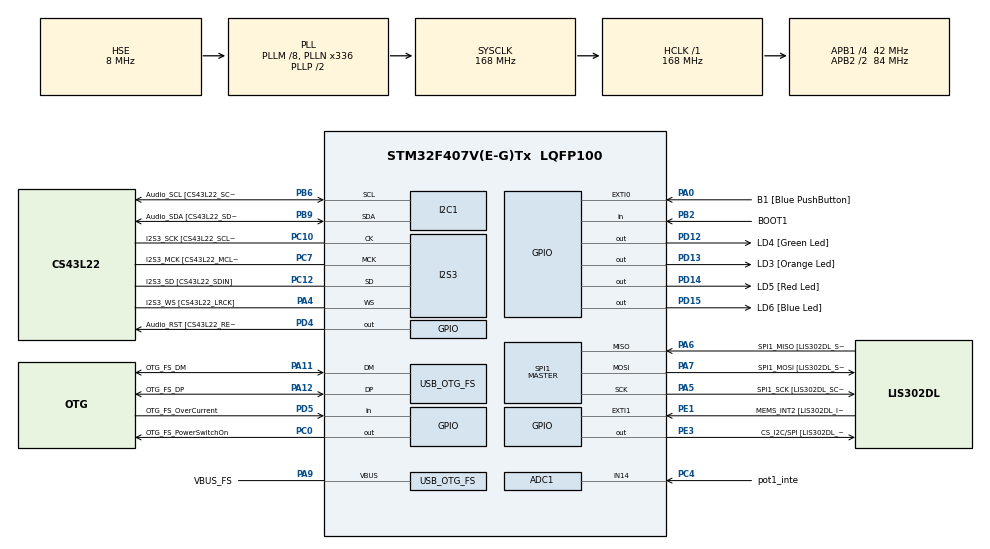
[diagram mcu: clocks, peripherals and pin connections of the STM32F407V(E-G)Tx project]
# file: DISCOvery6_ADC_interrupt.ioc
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ADC1.Channel-0\#ChannelRegularConversion=ADC_CHANNEL_14
ADC1.ContinuousConvMode=ENABLE
ADC1.NbrOfConversionFlag=1
ADC1.Rank-0\#ChannelRegularConversion=1
ADC1.Resolution=ADC_RESOLUTION_10B
ADC1.SamplingTime-0\#ChannelRegularConversion=ADC_SAMPLETIME_480CYCLES
ADC1.master=1
I2S3.AudioFreq-Half_Duplex_Master=I2S_AUDIOFREQ_96K
I2S3.ErrorAudioFreq=-2.34 %
I2S3.ErrorAudioFreq-Half_Duplex_Master=0.8 %
I2S3.FullDuplexMode=I2S_FULLDUPLEXMODE_DISABLE
I2S3.Instance=SPI$Index
I2S3.RealAudioFreq=93.75 KHz
I2S3.RealAudioFreq-Half_Duplex_Master=96.774 KHz
I2S3.VirtualMode=I2S_MODE_MASTER
Mcu.Family=STM32F4
Mcu.Name=STM32F407V(E-G)Tx
Mcu.Package=LQFP100
NVIC.ADC_IRQn=true\:0\:0\:false\:false\:true\:true\:true\:true
NVIC.OTG_FS_IRQn=true\:0\:0\:false\:false\:true\:true\:true\:true
NVIC.PriorityGroup=NVIC_PRIORITYGROUP_0
PA0-WKUP.GPIO_Label=B1 [Blue PushButton]
PA0-WKUP.GPIO_ModeDefaultEXTI=GPIO_MODE_EVT_RISING
PA0-WKUP.GPIO_PuPd=GPIO_NOPULL
PA0-WKUP.Signal=GPXTI0
PA10.GPIO_Label=OTG_FS_ID
PA10.GPIO_Mode=GPIO_MODE_AF_PP
PA10.GPIO_PuPd=GPIO_NOPULL
PA10.GPIO_Speed=GPIO_SPEED_FREQ_LOW
PA10.Signal=USB_OTG_FS_ID
PA11.GPIO_Label=OTG_FS_DM
PA11.GPIO_Mode=GPIO_MODE_AF_PP
PA11.GPIO_PuPd=GPIO_NOPULL
PA11.GPIO_Speed=GPIO_SPEED_FREQ_LOW
PA11.Mode=Host_Only
PA11.Signal=USB_OTG_FS_DM
PA12.GPIO_Label=OTG_FS_DP
PA12.GPIO_Mode=GPIO_MODE_AF_PP
PA12.GPIO_PuPd=GPIO_NOPULL
PA12.GPIO_Speed=GPIO_SPEED_FREQ_LOW
PA12.Mode=Host_Only
PA12.Signal=USB_OTG_FS_DP
PA13.GPIO_Label=SWDIO
PA13.Mode=Serial_Wire
PA13.Signal=SYS_JTMS-SWDIO
PA14.GPIO_Label=SWCLK
PA14.Mode=Serial_Wire
PA14.Signal=SYS_JTCK-SWCLK
PA4.GPIO_Label=I2S3_WS [CS43L22_LRCK]
PA4.GPIO_Mode=GPIO_MODE_AF_PP
PA4.GPIO_PuPd=GPIO_NOPULL
PA4.GPIO_Speed=GPIO_SPEED_FREQ_LOW
PA4.Mode=Half_Duplex_Master
PA4.Signal=I2S3_WS
PA5.GPIO_Label=SPI1_SCK [LIS302DL_SCL/SPC]
PA5.GPIO_Mode=GPIO_MODE_AF_PP
PA5.GPIO_PuPd=GPIO_NOPULL
PA5.GPIO_Speed=GPIO_SPEED_FREQ_LOW
PA5.Mode=Full_Duplex_Master
PA5.Signal=SPI1_SCK
PA6.GPIO_Label=SPI1_MISO [LIS302DL_SDO]
PA6.GPIO_Mode=GPIO_MODE_AF_PP
PA6.GPIO_PuPd=GPIO_NOPULL
PA6.GPIO_Speed=GPIO_SPEED_FREQ_LOW
PA6.Mode=Full_Duplex_Master
PA6.Signal=SPI1_MISO
PA7.GPIO_Label=SPI1_MOSI [LIS302DL_SDA/SDI/SDO]
PA7.GPIO_Mode=GPIO_MODE_AF_PP
PA7.GPIO_PuPd=GPIO_NOPULL
PA7.GPIO_Speed=GPIO_SPEED_FREQ_LOW
PA7.Mode=Full_Duplex_Master
PA7.Signal=SPI1_MOSI
PA9.GPIO_Label=VBUS_FS
PA9.GPIO_Mode=GPIO_MODE_INPUT
PA9.GPIO_PuPd=GPIO_NOPULL
PA9.Mode=Activate_VBUS
PA9.Signal=USB_OTG_FS_VBUS
PB10.GPIO_Label=CLK_IN [MP45DT02_CLK]
PB10.GPIO_Mode=GPIO_MODE_AF_PP
PB10.GPIO_PuPd=GPIO_NOPULL
PB10.GPIO_Speed=GPIO_SPEED_FREQ_LOW
PB10.Signal=I2S2_CK
PB2.GPIO_Label=BOOT1
PB2.GPIO_Mode=GPIO_MODE_INPUT
PB2.GPIO_PuPd=GPIO_NOPULL
PB2.Signal=GPIO_Input
PB3.GPIO_Label=SWO
PB3.Signal=SYS_JTDO-SWO
PB6.GPIO_Label=Audio_SCL [CS43L22_SCL]
PB6.GPIO_Mode=GPIO_MODE_AF_OD
PB6.GPIO_Pu=GPIO_PULLUP
PB6.GPIO_PuPd=GPIO_NOPULL
PB6.GPIO_Speed=GPIO_SPEED_FREQ_LOW
PB6.Mode=I2C
PB6.Signal=I2C1_SCL
PB9.GPIO_Label=Audio_SDA [CS43L22_SDA]
PB9.GPIO_Mode=GPIO_MODE_AF_OD
PB9.GPIO_Pu=GPIO_PULLUP
PB9.GPIO_PuPd=GPIO_NOPULL
PB9.GPIO_Speed=GPIO_SPEED_FREQ_LOW
PB9.Mode=I2C
PB9.Signal=I2C1_SDA
PC0.GPIO_Label=OTG_FS_PowerSwitchOn
PC0.GPIO_PuPd=GPIO_NOPULL
PC0.GPIO_Speed=GPIO_SPEED_FREQ_LOW
PC0.PinState=GPIO_PIN_SET
PC0.Signal=GPIO_Output
PC10.GPIO_Label=I2S3_SCK [CS43L22_SCLK]
PC10.GPIO_Mode=GPIO_MODE_AF_PP
PC10.GPIO_PuPd=GPIO_NOPULL
PC10.GPIO_Speed=GPIO_SPEED_FREQ_LOW
PC10.Mode=Half_Duplex_Master
PC10.Signal=I2S3_CK
PC12.GPIO_Label=I2S3_SD [CS43L22_SDIN]
PC12.GPIO_Mode=GPIO_MODE_AF_PP
PC12.GPIO_PuPd=GPIO_NOPULL
PC12.GPIO_Speed=GPIO_SPEED_FREQ_LOW
PC12.Mode=Half_Duplex_Master
PC12.Signal=I2S3_SD
PC14-OSC32_IN.GPIO_Label=PC14-OSC32_IN
PC14-OSC32_IN.Mode=LSE-External-Oscillator
PC14-OSC32_IN.Signal=RCC_OSC32_IN
PC15-OSC32_OUT.GPIO_Label=PC15-OSC32_OUT
PC15-OSC32_OUT.Mode=LSE-External-Oscillator
PC15-OSC32_OUT.Signal=RCC_OSC32_OUT
PC3.GPIO_Label=PDM_OUT [MP45DT02_DOUT]
PC3.GPIO_Mode=GPIO_MODE_AF_PP
PC3.GPIO_PuPd=GPIO_NOPULL
PC3.GPIO_Speed=GPIO_SPEED_FREQ_LOW
PC3.Signal=I2S2_SD
PC4.GPIO_Label=pot1_inte
PC4.Signal=ADCx_IN14
PC7.GPIO_Label=I2S3_MCK [CS43L22_MCLK]
PC7.GPIO_Mode=GPIO_MODE_AF_PP
PC7.GPIO_PuPd=GPIO_NOPULL
PC7.GPIO_Speed=GPIO_SPEED_FREQ_LOW
PC7.Mode=Master_Clock_Activated
PC7.Signal=I2S3_MCK
PD12.GPIO_Label=LD4 [Green Led]
PD12.GPIO_PuPd=GPIO_NOPULL
PD12.GPIO_Speed=GPIO_SPEED_FREQ_LOW
PD12.Signal=GPIO_Output
PD13.GPIO_Label=LD3 [Orange Led]
PD13.GPIO_PuPd=GPIO_NOPULL
PD13.GPIO_Speed=GPIO_SPEED_FREQ_LOW
PD13.Signal=GPIO_Output
PD14.GPIO_Label=LD5 [Red Led]
PD14.GPIO_PuPd=GPIO_NOPULL
PD14.GPIO_Speed=GPIO_SPEED_FREQ_LOW
PD14.Signal=GPIO_Output
PD15.GPIO_Label=LD6 [Blue Led]
PD15.GPIO_PuPd=GPIO_NOPULL
PD15.GPIO_Speed=GPIO_SPEED_FREQ_LOW
PD15.Signal=GPIO_Output
PD4.GPIO_Label=Audio_RST [CS43L22_RESET]
PD4.GPIO_PuPd=GPIO_NOPULL
PD4.GPIO_Speed=GPIO_SPEED_FREQ_LOW
PD4.Signal=GPIO_Output
PD5.GPIO_Label=OTG_FS_OverCurrent
PD5.GPIO_Mode=GPIO_MODE_INPUT
PD5.GPIO_PuPd=GPIO_NOPULL
PD5.Signal=GPIO_Input
PE1.GPIO_Label=MEMS_INT2 [LIS302DL_INT2]
PE1.GPIO_ModeDefaultEXTI=GPIO_MODE_EVT_RISING
PE1.GPIO_PuPd=GPIO_NOPULL
PE1.Signal=GPXTI1
PE3.GPIO_Label=CS_I2C/SPI [LIS302DL_CS_I2C/SPI]
PE3.GPIO_PuPd=GPIO_NOPULL
PE3.GPIO_Speed=GPIO_SPEED_FREQ_LOW
PE3.Signal=GPIO_Output
PH0-OSC_IN.GPIO_Label=PH0-OSC_IN
PH0-OSC_IN.Mode=HSE-External-Oscillator
PH0-OSC_IN.Signal=RCC_OSC_IN
PH1-OSC_OUT.GPIO_Label=PH1-OSC_OUT
PH1-OSC_OUT.Mode=HSE-External-Oscillator
PH1-OSC_OUT.Signal=RCC_OSC_OUT
ProjectManager.HeapSize=0x200
ProjectManager.StackSize=0x400
ProjectManager.TargetToolchain=STM32CubeIDE
RCC.48MHZClocksFreq_Value=48000000
RCC.AHBFreq_Value=168000000
RCC.APB1CLKDivider=RCC_HCLK_DIV4
RCC.APB1Freq_Value=42000000
RCC.APB1TimFreq_Value=84000000
RCC.APB2CLKDivider=RCC_HCLK_DIV2
RCC.APB2Freq_Value=84000000
RCC.APB2TimFreq_Value=168000000
RCC.CortexFreq_Value=168000000
RCC.HCLKFreq_Value=168000000
RCC.HSE_VALUE=8000000
RCC.HSI_VALUE=16000000
RCC.PLLM=8
RCC.PLLN=336
RCC.PLLQ=7
RCC.SYSCLKFreq_VALUE=168000000
RCC.SYSCLKSource=RCC_SYSCLKSOURCE_PLLCLK
RCC.VCOOutputFreq_Value=336000000
SH.ADCx_IN14.0=ADC1_IN14,IN14
SPI1.BaudRatePrescaler-Full_Duplex_Master=SPI_BAUDRATEPRESCALER_2
SPI1.CalculateBaudRate-Full_Duplex_Master=42.0 MBits/s
SPI1.Direction=SPI_DIRECTION_2LINES
SPI1.Mode=SPI_MODE_MASTER
SPI1.Mode-Full_Duplex_Master=SPI_MODE_MASTER
SPI1.VirtualType=VM_MASTER
USB_HOST.BSP.number=1
USB_HOST.USBH_HandleTypeDef-CDC_FS=hUsbHostFS
USB_HOST.VirtualModeFS=Cdc
USB_HOST0.BSP.STBoard=false
USB_HOST0.BSP.api=Unknown
USB_HOST0.BSP.instance=PC0
USB_HOST0.BSP.ip=GPIO
USB_HOST0.BSP.mode=Output
USB_HOST0.BSP.name=Drive_VBUS_FS
USB_HOST0.BSP.solution=PC0
USB_OTG_FS.VirtualMode=Host_Only
USB_OTG_FS.phy_itface=HCD_PHY_EMBEDDED
VP_USB_HOST_VS_USB_HOST_CDC_FS.Mode=CDC_FS
board=STM32F407G-DISC1

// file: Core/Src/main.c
/* USER CODE BEGIN Header */
/**
  ******************************************************************************
  * @file           : main.c
  * @brief          : Main program body
  ******************************************************************************
  * @attention
  *
  * Copyright (c) 2023 STMicroelectronics.
  * All rights reserved.
  *
  * This software is licensed under terms that can be found in the LICENSE file
  * in the root directory of this software component.
  * If no LICENSE file comes with this software, it is provided AS-IS.
  *
  ******************************************************************************
  */
/* USER CODE END Header */
#include "main.h"
#include "usb_host.h"

ADC_HandleTypeDef hadc1;

I2C_HandleTypeDef hi2c1;

I2S_HandleTypeDef hi2s3;

SPI_HandleTypeDef hspi1;

void SystemClock_Config(void);
static void MX_GPIO_Init(void);
static void MX_I2C1_Init(void);
static void MX_I2S3_Init(void);
static void MX_SPI1_Init(void);
static void MX_ADC1_Init(void);
void MX_USB_HOST_Process(void);

/* USER CODE BEGIN 0 */
int b_pb_state = 0;

uint16_t adc_value = 0;
float adc_voltage = 0;
/*
  __weak void HAL_ADC_ConvCpltCallback(ADC_HandleTypeDef* hadc){
  adc_value = HAL_ADC_GetValue(&hadc1);
  adc_voltage = adc_value*5.0/(1023);
  }
*/
/* USER CODE END 0 */

int main(void)
{

  /* MCU Configuration--------------------------------------------------------*/

  /* Reset of all peripherals, Initializes the Flash interface and the Systick. */
  HAL_Init();

  /* Configure the system clock */
  SystemClock_Config();

  /* Initialize all configured peripherals */
  MX_GPIO_Init();
  MX_I2C1_Init();
  MX_I2S3_Init();
  MX_SPI1_Init();
  MX_USB_HOST_Init();
  MX_ADC1_Init();
  /* USER CODE BEGIN 2 */

  HAL_ADC_Start_IT(&hadc1);

  /* USER CODE END 2 */

  /* Infinite loop */
  while (1)
  {
    MX_USB_HOST_Process();

    /* USER CODE BEGIN 3 */
    b_pb_state = HAL_GPIO_ReadPin(B1_GPIO_Port, B1_Pin);
    if( b_pb_state){
    	adc_value = HAL_ADC_GetValue(&hadc1);
    	adc_voltage = adc_value*5.0/1023;

    	 if(adc_value < 512){
    	HAL_GPIO_WritePin(LD6_GPIO_Port, LD6_Pin, GPIO_PIN_RESET);
    	HAL_GPIO_WritePin(LD3_GPIO_Port, LD3_Pin, GPIO_PIN_SET);
		}
		else if(adc_value > 512){
			HAL_GPIO_WritePin(LD6_GPIO_Port, LD6_Pin, GPIO_PIN_SET);
			HAL_GPIO_WritePin(LD3_GPIO_Port, LD3_Pin, GPIO_PIN_RESET);
		}
    }
    else if( !b_pb_state){
    	HAL_GPIO_WritePin(LD3_GPIO_Port, LD3_Pin, GPIO_PIN_RESET);
    	HAL_GPIO_WritePin(LD6_GPIO_Port, LD6_Pin, GPIO_PIN_RESET);
    }

  }
  /* USER CODE END 3 */
}

void SystemClock_Config(void)
{
  RCC_OscInitTypeDef RCC_OscInitStruct = {0};
  RCC_ClkInitTypeDef RCC_ClkInitStruct = {0};

  /** Configure the main internal regulator output voltage
  */
  __HAL_RCC_PWR_CLK_ENABLE();
  __HAL_PWR_VOLTAGESCALING_CONFIG(PWR_REGULATOR_VOLTAGE_SCALE1);

  /** Initializes the RCC Oscillators according to the specified parameters
  * in the RCC_OscInitTypeDef structure.
  */
  RCC_OscInitStruct.OscillatorType = RCC_OSCILLATORTYPE_HSE;
  RCC_OscInitStruct.HSEState = RCC_HSE_ON;
  RCC_OscInitStruct.PLL.PLLState = RCC_PLL_ON;
  RCC_OscInitStruct.PLL.PLLSource = RCC_PLLSOURCE_HSE;
  RCC_OscInitStruct.PLL.PLLM = 8;
  RCC_OscInitStruct.PLL.PLLN = 336;
  RCC_OscInitStruct.PLL.PLLP = RCC_PLLP_DIV2;
  RCC_OscInitStruct.PLL.PLLQ = 7;
  if (HAL_RCC_OscConfig(&RCC_OscInitStruct) != HAL_OK)
  {
    Error_Handler();
  }

  /** Initializes the CPU, AHB and APB buses clocks
  */
  RCC_ClkInitStruct.ClockType = RCC_CLOCKTYPE_HCLK|RCC_CLOCKTYPE_SYSCLK
                              |RCC_CLOCKTYPE_PCLK1|RCC_CLOCKTYPE_PCLK2;
  RCC_ClkInitStruct.SYSCLKSource = RCC_SYSCLKSOURCE_PLLCLK;
  RCC_ClkInitStruct.AHBCLKDivider = RCC_SYSCLK_DIV1;
  RCC_ClkInitStruct.APB1CLKDivider = RCC_HCLK_DIV4;
  RCC_ClkInitStruct.APB2CLKDivider = RCC_HCLK_DIV2;

  if (HAL_RCC_ClockConfig(&RCC_ClkInitStruct, FLASH_LATENCY_5) != HAL_OK)
  {
    Error_Handler();
  }
}

static void MX_ADC1_Init(void)
{

  ADC_ChannelConfTypeDef sConfig = {0};

  /** Configure the global features of the ADC (Clock, Resolution, Data Alignment and number of conversion)
  */
  hadc1.Instance = ADC1;
  hadc1.Init.ClockPrescaler = ADC_CLOCK_SYNC_PCLK_DIV4;
  hadc1.Init.Resolution = ADC_RESOLUTION_10B;
  hadc1.Init.ScanConvMode = DISABLE;
  hadc1.Init.ContinuousConvMode = ENABLE;
  hadc1.Init.DiscontinuousConvMode = DISABLE;
  hadc1.Init.ExternalTrigConvEdge = ADC_EXTERNALTRIGCONVEDGE_NONE;
  hadc1.Init.ExternalTrigConv = ADC_SOFTWARE_START;
  hadc1.Init.DataAlign = ADC_DATAALIGN_RIGHT;
  hadc1.Init.NbrOfConversion = 1;
  hadc1.Init.DMAContinuousRequests = DISABLE;
  hadc1.Init.EOCSelection = ADC_EOC_SINGLE_CONV;
  if (HAL_ADC_Init(&hadc1) != HAL_OK)
  {
    Error_Handler();
  }

  /** Configure for the selected ADC regular channel its corresponding rank in the sequencer and its sample time.
  */
  sConfig.Channel = ADC_CHANNEL_14;
  sConfig.Rank = 1;
  sConfig.SamplingTime = ADC_SAMPLETIME_480CYCLES;
  if (HAL_ADC_ConfigChannel(&hadc1, &sConfig) != HAL_OK)
  {
    Error_Handler();
  }

}

static void MX_I2C1_Init(void)
{

  hi2c1.Instance = I2C1;
  hi2c1.Init.ClockSpeed = 100000;
  hi2c1.Init.DutyCycle = I2C_DUTYCYCLE_2;
  hi2c1.Init.OwnAddress1 = 0;
  hi2c1.Init.AddressingMode = I2C_ADDRESSINGMODE_7BIT;
  hi2c1.Init.DualAddressMode = I2C_DUALADDRESS_DISABLE;
  hi2c1.Init.OwnAddress2 = 0;
  hi2c1.Init.GeneralCallMode = I2C_GENERALCALL_DISABLE;
  hi2c1.Init.NoStretchMode = I2C_NOSTRETCH_DISABLE;
  if (HAL_I2C_Init(&hi2c1) != HAL_OK)
  {
    Error_Handler();
  }

}

static void MX_I2S3_Init(void)
{

  hi2s3.Instance = SPI3;
  hi2s3.Init.Mode = I2S_MODE_MASTER_TX;
  hi2s3.Init.Standard = I2S_STANDARD_PHILIPS;
  hi2s3.Init.DataFormat = I2S_DATAFORMAT_16B;
  hi2s3.Init.MCLKOutput = I2S_MCLKOUTPUT_ENABLE;
  hi2s3.Init.AudioFreq = I2S_AUDIOFREQ_96K;
  hi2s3.Init.CPOL = I2S_CPOL_LOW;
  hi2s3.Init.ClockSource = I2S_CLOCK_PLL;
  hi2s3.Init.FullDuplexMode = I2S_FULLDUPLEXMODE_DISABLE;
  if (HAL_I2S_Init(&hi2s3) != HAL_OK)
  {
    Error_Handler();
  }

}

static void MX_SPI1_Init(void)
{

  /* SPI1 parameter configuration*/
  hspi1.Instance = SPI1;
  hspi1.Init.Mode = SPI_MODE_MASTER;
  hspi1.Init.Direction = SPI_DIRECTION_2LINES;
  hspi1.Init.DataSize = SPI_DATASIZE_8BIT;
  hspi1.Init.CLKPolarity = SPI_POLARITY_LOW;
  hspi1.Init.CLKPhase = SPI_PHASE_1EDGE;
  hspi1.Init.NSS = SPI_NSS_SOFT;
  hspi1.Init.BaudRatePrescaler = SPI_BAUDRATEPRESCALER_2;
  hspi1.Init.FirstBit = SPI_FIRSTBIT_MSB;
  hspi1.Init.TIMode = SPI_TIMODE_DISABLE;
  hspi1.Init.CRCCalculation = SPI_CRCCALCULATION_DISABLE;
  hspi1.Init.CRCPolynomial = 10;
  if (HAL_SPI_Init(&hspi1) != HAL_OK)
  {
    Error_Handler();
  }

}

static void MX_GPIO_Init(void)
{
  GPIO_InitTypeDef GPIO_InitStruct = {0};

  /* GPIO Ports Clock Enable */
  __HAL_RCC_GPIOE_CLK_ENABLE();
  __HAL_RCC_GPIOC_CLK_ENABLE();
  __HAL_RCC_GPIOH_CLK_ENABLE();
  __HAL_RCC_GPIOA_CLK_ENABLE();
  __HAL_RCC_GPIOB_CLK_ENABLE();
  __HAL_RCC_GPIOD_CLK_ENABLE();

  /*Configure GPIO pin Output Level */
  HAL_GPIO_WritePin(CS_I2C_SPI_GPIO_Port, CS_I2C_SPI_Pin, GPIO_PIN_RESET);

  /*Configure GPIO pin Output Level */
  HAL_GPIO_WritePin(OTG_FS_PowerSwitchOn_GPIO_Port, OTG_FS_PowerSwitchOn_Pin, GPIO_PIN_SET);

  /*Configure GPIO pin Output Level */
  HAL_GPIO_WritePin(GPIOD, LD4_Pin|LD3_Pin|LD5_Pin|LD6_Pin
                          |Audio_RST_Pin, GPIO_PIN_RESET);

  /*Configure GPIO pin : CS_I2C_SPI_Pin */
  GPIO_InitStruct.Pin = CS_I2C_SPI_Pin;
  GPIO_InitStruct.Mode = GPIO_MODE_OUTPUT_PP;
  GPIO_InitStruct.Pull = GPIO_NOPULL;
  GPIO_InitStruct.Speed = GPIO_SPEED_FREQ_LOW;
  HAL_GPIO_Init(CS_I2C_SPI_GPIO_Port, &GPIO_InitStruct);

  /*Configure GPIO pin : OTG_FS_PowerSwitchOn_Pin */
  GPIO_InitStruct.Pin = OTG_FS_PowerSwitchOn_Pin;
  GPIO_InitStruct.Mode = GPIO_MODE_OUTPUT_PP;
  GPIO_InitStruct.Pull = GPIO_NOPULL;
  GPIO_InitStruct.Speed = GPIO_SPEED_FREQ_LOW;
  HAL_GPIO_Init(OTG_FS_PowerSwitchOn_GPIO_Port, &GPIO_InitStruct);

  /*Configure GPIO pin : PDM_OUT_Pin */
  GPIO_InitStruct.Pin = PDM_OUT_Pin;
  GPIO_InitStruct.Mode = GPIO_MODE_AF_PP;
  GPIO_InitStruct.Pull = GPIO_NOPULL;
  GPIO_InitStruct.Speed = GPIO_SPEED_FREQ_LOW;
  GPIO_InitStruct.Alternate = GPIO_AF5_SPI2;
  HAL_GPIO_Init(PDM_OUT_GPIO_Port, &GPIO_InitStruct);

  /*Configure GPIO pin : B1_Pin */
  GPIO_InitStruct.Pin = B1_Pin;
  GPIO_InitStruct.Mode = GPIO_MODE_EVT_RISING;
  GPIO_InitStruct.Pull = GPIO_NOPULL;
  HAL_GPIO_Init(B1_GPIO_Port, &GPIO_InitStruct);

  /*Configure GPIO pin : BOOT1_Pin */
  GPIO_InitStruct.Pin = BOOT1_Pin;
  GPIO_InitStruct.Mode = GPIO_MODE_INPUT;
  GPIO_InitStruct.Pull = GPIO_NOPULL;
  HAL_GPIO_Init(BOOT1_GPIO_Port, &GPIO_InitStruct);

  /*Configure GPIO pin : CLK_IN_Pin */
  GPIO_InitStruct.Pin = CLK_IN_Pin;
  GPIO_InitStruct.Mode = GPIO_MODE_AF_PP;
  GPIO_InitStruct.Pull = GPIO_NOPULL;
  GPIO_InitStruct.Speed = GPIO_SPEED_FREQ_LOW;
  GPIO_InitStruct.Alternate = GPIO_AF5_SPI2;
  HAL_GPIO_Init(CLK_IN_GPIO_Port, &GPIO_InitStruct);

  /*Configure GPIO pins : LD4_Pin LD3_Pin LD5_Pin LD6_Pin
                           Audio_RST_Pin */
  GPIO_InitStruct.Pin = LD4_Pin|LD3_Pin|LD5_Pin|LD6_Pin
                          |Audio_RST_Pin;
  GPIO_InitStruct.Mode = GPIO_MODE_OUTPUT_PP;
  GPIO_InitStruct.Pull = GPIO_NOPULL;
  GPIO_InitStruct.Speed = GPIO_SPEED_FREQ_LOW;
  HAL_GPIO_Init(GPIOD, &GPIO_InitStruct);

  /*Configure GPIO pin : OTG_FS_OverCurrent_Pin */
  GPIO_InitStruct.Pin = OTG_FS_OverCurrent_Pin;
  GPIO_InitStruct.Mode = GPIO_MODE_INPUT;
  GPIO_InitStruct.Pull = GPIO_NOPULL;
  HAL_GPIO_Init(OTG_FS_OverCurrent_GPIO_Port, &GPIO_InitStruct);

  /*Configure GPIO pin : MEMS_INT2_Pin */
  GPIO_InitStruct.Pin = MEMS_INT2_Pin;
  GPIO_InitStruct.Mode = GPIO_MODE_EVT_RISING;
  GPIO_InitStruct.Pull = GPIO_NOPULL;
  HAL_GPIO_Init(MEMS_INT2_GPIO_Port, &GPIO_InitStruct);

}

void Error_Handler(void)
{
  __disable_irq();
  while (1)
  {
  }
}
